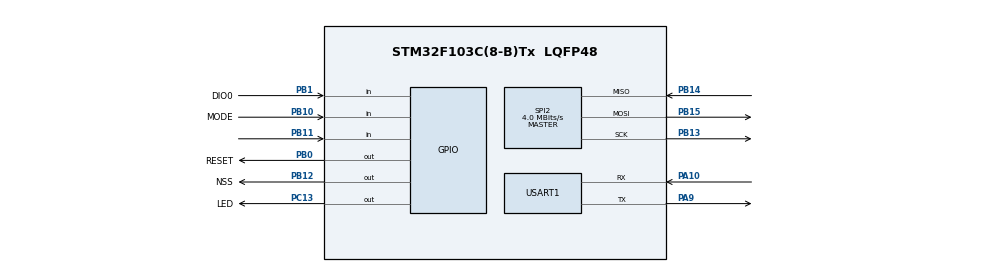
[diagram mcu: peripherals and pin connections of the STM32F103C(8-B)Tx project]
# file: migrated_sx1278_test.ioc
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Mcu.Family=STM32F1
PA10.Mode=Asynchronous
SPI2.VirtualType=VM_MASTER
PC13-TAMPER-RTC.Signal=GPIO_Output
PB0.GPIO_Label=RESET
PB11.Signal=GPIO_Input
PB15.Signal=SPI2_MOSI
PB13.Signal=SPI2_SCK
ProjectManager.StackSize=0x400
PA13.Signal=SYS_JTMS-SWDIO
PA9.Mode=Asynchronous
ProjectManager.TargetToolchain=STM32CubeIDE
PB10.GPIO_Label=MODE
PB0.PinState=GPIO_PIN_SET
PA9.Signal=USART1_TX
PB12.PinState=GPIO_PIN_SET
PB10.Signal=GPIO_Input
PB14.Signal=SPI2_MISO
board=custom
PC13-TAMPER-RTC.GPIO_Label=LED
PB15.Mode=Full_Duplex_Master
PB12.GPIO_Label=NSS
RCC.APB2Freq_Value=8000000
PA14.Mode=Serial_Wire
PB14.Mode=Full_Duplex_Master
PB1.GPIO_Label=DIO0
SPI2.CalculateBaudRate=4.0 MBits/s
PA13.Mode=Serial_Wire
Mcu.Name=STM32F103C(8-B)Tx
Mcu.Package=LQFP48
PB1.Signal=GPIO_Input
SPI2.Mode=SPI_MODE_MASTER
USART1.VirtualMode=VM_ASYNC
PA10.Signal=USART1_RX
PA14.Signal=SYS_JTCK-SWCLK
ProjectManager.HeapSize=0x200
NVIC.PriorityGroup=NVIC_PRIORITYGROUP_4
SPI2.Direction=SPI_DIRECTION_2LINES
PB13.Mode=Full_Duplex_Master
RCC.APB1Freq_Value=8000000
PB0.Signal=GPIO_Output
PB12.Signal=GPIO_Output

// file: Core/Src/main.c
/* USER CODE BEGIN Header */
/**
  ******************************************************************************
  * @file           : main.c
  * @brief          : Main program body
  ******************************************************************************
  * @attention
  *
  * <h2><center>&copy; Copyright (c) 2021 STMicroelectronics.
  * All rights reserved.</center></h2>
  *
  * This software component is licensed by ST under BSD 3-Clause license,
  * the "License"; You may not use this file except in compliance with the
  * License. You may obtain a copy of the License at:
  *                        opensource.org/licenses/BSD-3-Clause
  *
  ******************************************************************************
  */
/* USER CODE END Header */
#include "main.h"

/* USER CODE BEGIN Includes */
#include <stdio.h>
#include "SX1278.h"
#include "SX1278_hw.h"
/* USER CODE END Includes */

SPI_HandleTypeDef hspi2;

UART_HandleTypeDef huart1;

void SystemClock_Config(void);
static void MX_GPIO_Init(void);
static void MX_USART1_UART_Init(void);
static void MX_SPI2_Init(void);
/* USER CODE BEGIN PFP */
int _write(int file, char *ptr, int len) {
	int i;
	HAL_UART_Transmit(&huart1, (uint8_t*) ptr, len, 50);
	for (i = 0; i < len; i++) {
		ITM_SendChar(*ptr++);
	}
	return len;
}
/* USER CODE END PFP */

/* USER CODE BEGIN 0 */
SX1278_hw_t SX1278_hw;
SX1278_t SX1278;

int master;
int ret;

char buffer[512];

int message;
int message_length;
/* USER CODE END 0 */

int main(void)
{

  /* MCU Configuration--------------------------------------------------------*/

  /* Reset of all peripherals, Initializes the Flash interface and the Systick. */
  HAL_Init();

  /* Configure the system clock */
  SystemClock_Config();

  /* Initialize all configured peripherals */
  MX_GPIO_Init();
  MX_USART1_UART_Init();
  MX_SPI2_Init();
  /* USER CODE BEGIN 2 */
  master = 1;
  //master = HAL_GPIO_ReadPin(MODE_GPIO_Port, MODE_Pin);
  if (master == 1) {
  		printf("Mode: Master\r\n");
  		HAL_GPIO_WritePin(MODE_GPIO_Port, MODE_Pin, GPIO_PIN_RESET);
  	} else {
  		printf("Mode: Slave\r\n");
  		HAL_GPIO_WritePin(MODE_GPIO_Port, MODE_Pin, GPIO_PIN_SET);
  	}
  //initialize LoRa module

    SX1278_hw.dio0.port = DIO0_GPIO_Port;
    SX1278_hw.dio0.pin = DIO0_Pin;
    SX1278_hw.nss.port = NSS_GPIO_Port;
    SX1278_hw.nss.pin = NSS_Pin;
    SX1278_hw.reset.port = RESET_GPIO_Port;
    SX1278_hw.reset.pin = RESET_Pin;

    SX1278_hw.spi = &hspi2;

    SX1278.hw = &SX1278_hw;

    printf("Configuring LoRa module\r\n");

    SX1278_init(&SX1278, 433000000, SX1278_POWER_17DBM, SX1278_LORA_SF_7, SX1278_LORA_BW_125KHZ, SX1278_LORA_CR_4_5, SX1278_LORA_CRC_EN, 10);

    printf("Done configuring LoRaModule\r\n");
    if (master == 1) {
    		ret = SX1278_LoRaEntryTx(&SX1278, 16, 2000);
    		HAL_GPIO_WritePin(LED_GPIO_Port, LED_Pin, GPIO_PIN_SET);
    	} else {
    		ret = SX1278_LoRaEntryRx(&SX1278, 16, 2000);
    		HAL_GPIO_WritePin(LED_GPIO_Port, LED_Pin, GPIO_PIN_RESET);
    	}
    printf("Retval:%d\n",ret);
  /* USER CODE END 2 */

    /* Infinite loop */
      /* USER CODE BEGIN WHILE */
      while (1)
      {

    		if (master == 1) {
    			printf("Master ...\r\n");
    			HAL_Delay(1000);
    			printf("Sending package...\r\n");
    			message_length = sprintf(buffer, "Hello %d", message);
    			ret = SX1278_LoRaEntryTx(&SX1278, message_length, 2000);
    			printf("Entry: %d\r\n", ret);
    			printf("Sending %s\r\n", buffer);
    			ret = SX1278_LoRaTxPacket(&SX1278, (uint8_t*) buffer,
    					message_length, 2000);
    			message += 1;
    			printf("Transmission: %d\r\n", ret);
    			printf("Package sent...\r\n");
    		} else {
    			printf("Slave ...\r\n");
    			HAL_Delay(800);
    			printf("Receiving package...\r\n");
    			ret = SX1278_LoRaRxPacket(&SX1278);
    			printf("Received: %d\r\n", ret);
    			if (ret > 0) {
    				SX1278_read(&SX1278, (uint8_t*) buffer, ret);
    				printf("Content (%d): %s\r\n", ret, buffer);
    			}
    			printf("Package received ...\r\n");
    			/*uint8_t rssi = SX1278_RSSI_LoRa(&SX1278);
    			printf("RSSI:%d\r\n",rssi);
    			uint32_t modem_stat = SX1278_SPIRead(&SX1278, LR_RegModemStat);
    			printf("Modem Status:%x\r\n",modem_stat);
    			*/
    		}

    		/*
    		//change mode
    		//if (GPIO_PIN_RESET == HAL_GPIO_ReadPin(MODE_GPIO_Port, MODE_Pin)) {
    			printf("Changing mode\r\n");
    			master = ~master & 0x01;
    			if (master == 1) {
    				ret = SX1278_LoRaEntryTx(&SX1278, 16, 2000);
    				HAL_GPIO_WritePin(LED_GPIO_Port, LED_Pin, GPIO_PIN_SET);
    			} else {
    				ret = SX1278_LoRaEntryRx(&SX1278, 16, 2000);
    				HAL_GPIO_WritePin(LED_GPIO_Port, LED_Pin, GPIO_PIN_RESET);
    			}
    			HAL_Delay(1000);
    			//while (GPIO_PIN_RESET == HAL_GPIO_ReadPin(MODE_GPIO_Port, MODE_Pin));
    		//}
    		 */

        /* USER CODE END WHILE */

      }
}

void SystemClock_Config(void)
{
  RCC_OscInitTypeDef RCC_OscInitStruct = {0};
  RCC_ClkInitTypeDef RCC_ClkInitStruct = {0};

  /** Initializes the RCC Oscillators according to the specified parameters
  * in the RCC_OscInitTypeDef structure.
  */
  RCC_OscInitStruct.OscillatorType = RCC_OSCILLATORTYPE_HSI;
  RCC_OscInitStruct.HSIState = RCC_HSI_ON;
  RCC_OscInitStruct.HSICalibrationValue = RCC_HSICALIBRATION_DEFAULT;
  RCC_OscInitStruct.PLL.PLLState = RCC_PLL_NONE;
  if (HAL_RCC_OscConfig(&RCC_OscInitStruct) != HAL_OK)
  {
    Error_Handler();
  }
  /** Initializes the CPU, AHB and APB buses clocks
  */
  RCC_ClkInitStruct.ClockType = RCC_CLOCKTYPE_HCLK|RCC_CLOCKTYPE_SYSCLK
                              |RCC_CLOCKTYPE_PCLK1|RCC_CLOCKTYPE_PCLK2;
  RCC_ClkInitStruct.SYSCLKSource = RCC_SYSCLKSOURCE_HSI;
  RCC_ClkInitStruct.AHBCLKDivider = RCC_SYSCLK_DIV1;
  RCC_ClkInitStruct.APB1CLKDivider = RCC_HCLK_DIV1;
  RCC_ClkInitStruct.APB2CLKDivider = RCC_HCLK_DIV1;

  if (HAL_RCC_ClockConfig(&RCC_ClkInitStruct, FLASH_LATENCY_0) != HAL_OK)
  {
    Error_Handler();
  }
}

static void MX_SPI2_Init(void)
{

  /* SPI2 parameter configuration*/
  hspi2.Instance = SPI2;
  hspi2.Init.Mode = SPI_MODE_MASTER;
  hspi2.Init.Direction = SPI_DIRECTION_2LINES;
  hspi2.Init.DataSize = SPI_DATASIZE_8BIT;
  hspi2.Init.CLKPolarity = SPI_POLARITY_LOW;
  hspi2.Init.CLKPhase = SPI_PHASE_1EDGE;
  hspi2.Init.NSS = SPI_NSS_SOFT;
  hspi2.Init.BaudRatePrescaler = SPI_BAUDRATEPRESCALER_2;
  hspi2.Init.FirstBit = SPI_FIRSTBIT_MSB;
  hspi2.Init.TIMode = SPI_TIMODE_DISABLE;
  hspi2.Init.CRCCalculation = SPI_CRCCALCULATION_DISABLE;
  hspi2.Init.CRCPolynomial = 10;
  if (HAL_SPI_Init(&hspi2) != HAL_OK)
  {
    Error_Handler();
  }

}

static void MX_USART1_UART_Init(void)
{

  huart1.Instance = USART1;
  huart1.Init.BaudRate = 115200;
  huart1.Init.WordLength = UART_WORDLENGTH_8B;
  huart1.Init.StopBits = UART_STOPBITS_1;
  huart1.Init.Parity = UART_PARITY_NONE;
  huart1.Init.Mode = UART_MODE_TX_RX;
  huart1.Init.HwFlowCtl = UART_HWCONTROL_NONE;
  huart1.Init.OverSampling = UART_OVERSAMPLING_16;
  if (HAL_UART_Init(&huart1) != HAL_OK)
  {
    Error_Handler();
  }

}

static void MX_GPIO_Init(void)
{
  GPIO_InitTypeDef GPIO_InitStruct = {0};

  /* GPIO Ports Clock Enable */
  __HAL_RCC_GPIOC_CLK_ENABLE();
  __HAL_RCC_GPIOB_CLK_ENABLE();
  __HAL_RCC_GPIOA_CLK_ENABLE();

  /*Configure GPIO pin Output Level */
  HAL_GPIO_WritePin(LED_GPIO_Port, LED_Pin, GPIO_PIN_RESET);

  /*Configure GPIO pin Output Level */
  HAL_GPIO_WritePin(GPIOB, RESET_Pin|NSS_Pin, GPIO_PIN_SET);

  /*Configure GPIO pin : LED_Pin */
  GPIO_InitStruct.Pin = LED_Pin;
  GPIO_InitStruct.Mode = GPIO_MODE_OUTPUT_PP;
  GPIO_InitStruct.Pull = GPIO_NOPULL;
  GPIO_InitStruct.Speed = GPIO_SPEED_FREQ_LOW;
  HAL_GPIO_Init(LED_GPIO_Port, &GPIO_InitStruct);

  /*Configure GPIO pins : RESET_Pin NSS_Pin */
  GPIO_InitStruct.Pin = RESET_Pin|NSS_Pin;
  GPIO_InitStruct.Mode = GPIO_MODE_OUTPUT_PP;
  GPIO_InitStruct.Pull = GPIO_NOPULL;
  GPIO_InitStruct.Speed = GPIO_SPEED_FREQ_LOW;
  HAL_GPIO_Init(GPIOB, &GPIO_InitStruct);

  /*Configure GPIO pins : DIO0_Pin MODE_Pin PB11 */
  GPIO_InitStruct.Pin = DIO0_Pin|MODE_Pin|GPIO_PIN_11;
  GPIO_InitStruct.Mode = GPIO_MODE_INPUT;
  GPIO_InitStruct.Pull = GPIO_NOPULL;
  HAL_GPIO_Init(GPIOB, &GPIO_InitStruct);

}

void Error_Handler(void)
{
  __disable_irq();
  while (1)
  {
  }
}

/************************ (C) COPYRIGHT STMicroelectronics *****END OF FILE****/
